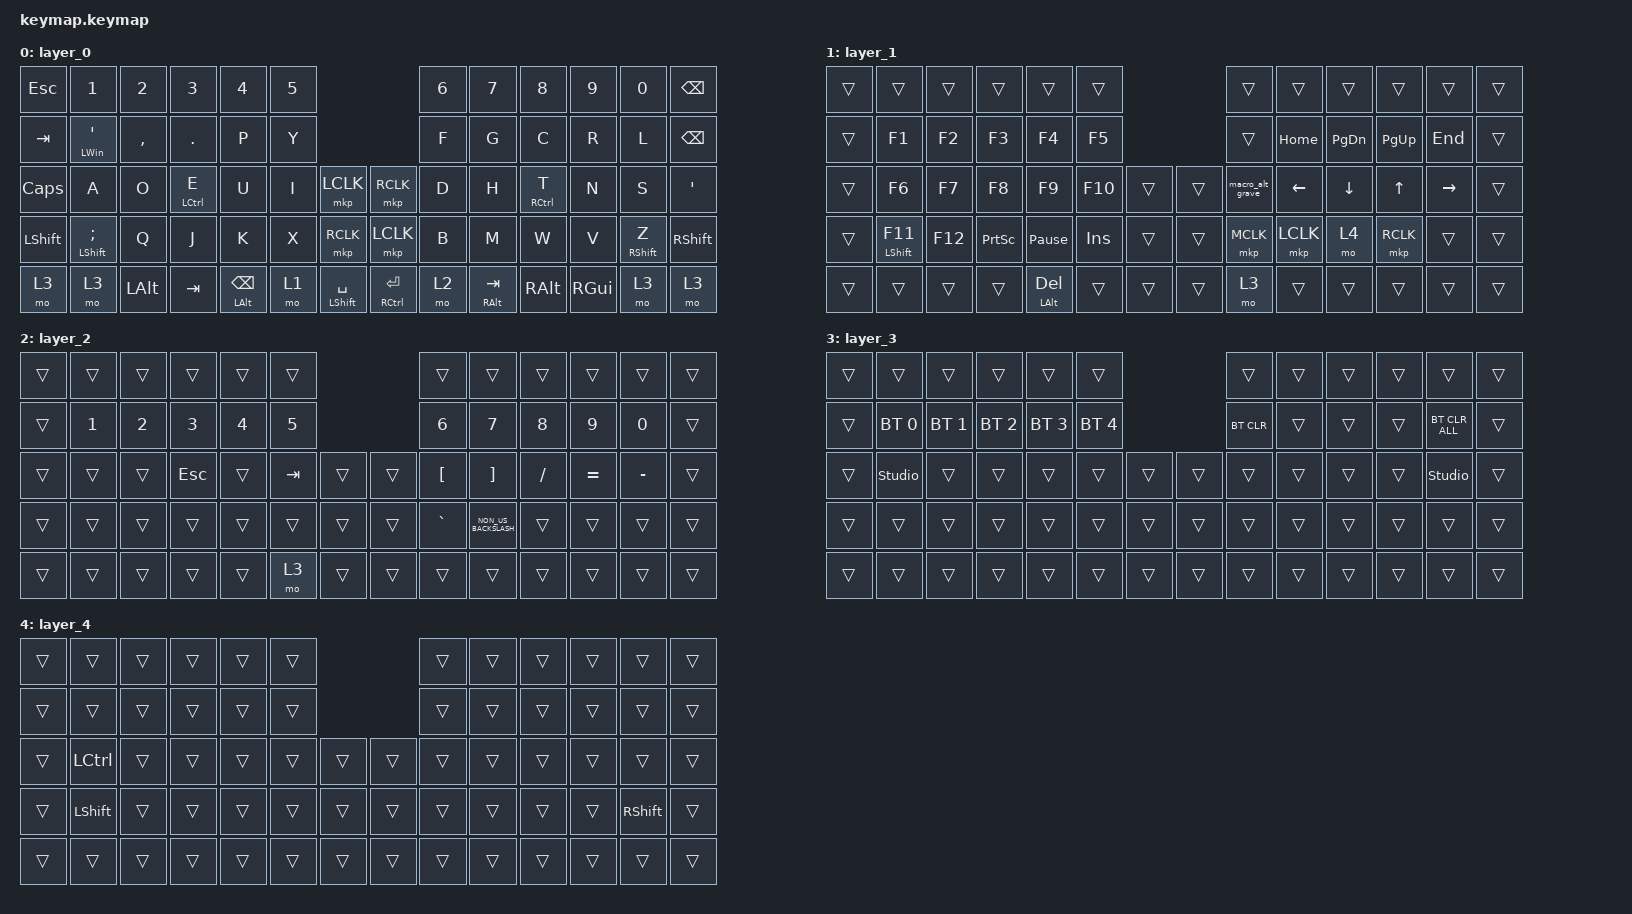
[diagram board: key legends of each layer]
#include <behaviors.dtsi>
#include <dt-bindings/zmk/bt.h>
#include <dt-bindings/zmk/keys.h>
#include <dt-bindings/zmk/pointing.h>

/ {
    // --- 追加: Mod-Tapの挙動をカスタマイズ ---

    behaviors {
        // デフォルトのMod-Tap(&mt)の挙動を上書きし、QMK風の快適な設定に変更します

        mt: mod_tap {
            compatible = "zmk,behavior-hold-tap";
            #binding-cells = <2>;

            // --- ここからがカスタマイズ項目です ---
            // タップとホールドを認識する時間。200msに設定。

            tapping-term-ms = <200>;

            // 'tap-preferred'フレーバーを選択。
            // これにより、高速でキーを連続入力（ローリング）した際に、
            // ホールド（モディファイア）が誤爆するのを防ぎます。
            // QMKの`IGNORE_MOD_TAP_INTERRUPT`に近い挙動です。

            flavor = "tap-preferred";

            // (オプション) この時間内の素早い連続タップは、強制的にタップとして扱います。
            // これにより、スペースキーやエンターキーの連続タップがより確実になります。

            quick-tap-ms = <150>;

            // --- ここまでがカスタマイズ項目です ---

            bindings = <&kp>, <&kp>;
        };
    };

    // 日本語入力のオンオフで、ChromeでAltキーが暴発するための対策マクロ

    macros {
        macro_alt_grave: macro_alt_grave {
            compatible = "zmk,behavior-macro";
            #binding-cells = <0>;
            wait-ms = <5>;
            tap-ms = <5>;
            bindings =
                <&macro_press>,
                <&kp LALT>,
                <&macro_tap>,
                <&kp GRAVE>,
                <&macro_release>,
                <&kp LALT>;
        };
    };

    combos {
        compatible = "zmk,combos";

        leftclick {
            bindings = <&mkp LCLK>;
            key-positions = <48 49>;
        };

        rightclick {
            bindings = <&mkp RCLK>;
            key-positions = <49 50>;
        };

        middleclick {
            bindings = <&mkp MCLK>;
            key-positions = <48 35>;
        };
    };

    keymap {
        compatible = "zmk,keymap";

        layer_0 {
            bindings = <
&kp ESC    &kp N1                    &kp N2        &kp N3       &kp N4             &kp N5                                         &kp N6  &kp N7             &kp N8       &kp N9    &kp N0             &kp BSPC
&kp TAB    &mt LEFT_WIN SQT          &kp COMMA     &kp PERIOD   &kp P              &kp Y                                          &kp F   &kp G              &kp C        &kp R     &kp L              &kp BSPC
&kp CAPS   &kp A                     &kp O         &mt LCTRL E  &kp U              &kp I   &mkp LCLK             &mkp RCLK        &kp D   &kp H              &mt RCTRL T  &kp N     &kp S              &kp SQT
&kp LSHFT  &mt LEFT_SHIFT SEMICOLON  &kp Q         &kp J        &kp K              &kp X   &mkp RCLK             &mkp LCLK        &kp B   &kp M              &kp W        &kp V     &mt RIGHT_SHIFT Z  &kp RSHFT
&mo 3      &mo 3                     &kp LEFT_ALT  &kp TAB      &mt LEFT_ALT BSPC  &mo 1   &mt LEFT_SHIFT SPACE  &mt RCTRL ENTER  &mo 2   &mt RIGHT_ALT TAB  &kp RALT     &kp RGUI  &mo 3              &mo 3
            >;
        };

        layer_1 {
            bindings = <
&trans  &trans              &trans   &trans           &trans               &trans                   &trans            &trans     &trans         &trans     &trans     &trans
&trans  &kp F1              &kp F2   &kp F3           &kp F4               &kp F5                   &trans            &kp HOME   &kp PAGE_DOWN  &kp PG_UP  &kp END    &trans
&trans  &kp F6              &kp F7   &kp F8           &kp F9               &kp F10  &trans  &trans  &macro_alt_grave  &kp LEFT   &kp DOWN       &kp UP     &kp RIGHT  &trans
&trans  &mt LEFT_SHIFT F11  &kp F12  &kp PRINTSCREEN  &kp PAUSE_BREAK      &kp INS  &trans  &trans  &mkp MCLK         &mkp LCLK  &mo 4          &mkp RCLK  &trans     &trans
&trans  &trans              &trans   &trans           &mt LEFT_ALT DELETE  &trans   &trans  &trans  &mo 3             &trans     &trans         &trans     &trans     &trans
            >;
        };

        layer_2 {
            bindings = <
&trans  &trans  &trans  &trans      &trans  &trans                   &trans     &trans                &trans     &trans     &trans     &trans
&trans  &kp N1  &kp N2  &kp N3      &kp N4  &kp N5                   &kp N6     &kp N7                &kp N8     &kp N9     &kp N0     &trans
&trans  &trans  &trans  &kp ESCAPE  &trans  &kp TAB  &trans  &trans  &kp LBKT   &kp RIGHT_BRACKET     &kp SLASH  &kp EQUAL  &kp MINUS  &trans
&trans  &trans  &trans  &trans      &trans  &trans   &trans  &trans  &kp GRAVE  &kp NON_US_BACKSLASH  &trans     &trans     &trans     &trans
&trans  &trans  &trans  &trans      &trans  &mo 3    &trans  &trans  &trans     &trans                &trans     &trans     &trans     &trans
            >;
        };

        layer_3 {
            bindings = <
&trans  &trans          &trans        &trans        &trans        &trans                        &trans      &trans  &trans  &trans  &trans          &trans
&trans  &bt BT_SEL 0    &bt BT_SEL 1  &bt BT_SEL 2  &bt BT_SEL 3  &bt BT_SEL 4                  &bt BT_CLR  &trans  &trans  &trans  &bt BT_CLR_ALL  &trans
&trans  &studio_unlock  &trans        &trans        &trans        &trans        &trans  &trans  &trans      &trans  &trans  &trans  &studio_unlock  &trans
&trans  &trans          &trans        &trans        &trans        &trans        &trans  &trans  &trans      &trans  &trans  &trans  &trans          &trans
&trans  &trans          &trans        &trans        &trans        &trans        &trans  &trans  &trans      &trans  &trans  &trans  &trans          &trans
            >;
        };

        layer_4 {
            bindings = <
&trans  &trans      &trans  &trans  &trans  &trans                  &trans  &trans  &trans  &trans  &trans      &trans
&trans  &trans      &trans  &trans  &trans  &trans                  &trans  &trans  &trans  &trans  &trans      &trans
&trans  &kp LCTRL   &trans  &trans  &trans  &trans  &trans  &trans  &trans  &trans  &trans  &trans  &trans      &trans
&trans  &kp LSHIFT  &trans  &trans  &trans  &trans  &trans  &trans  &trans  &trans  &trans  &trans  &kp RSHIFT  &trans
&trans  &trans      &trans  &trans  &trans  &trans  &trans  &trans  &trans  &trans  &trans  &trans  &trans      &trans
            >;
        };
    };
};
